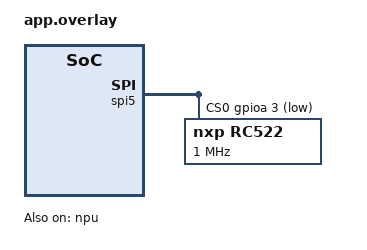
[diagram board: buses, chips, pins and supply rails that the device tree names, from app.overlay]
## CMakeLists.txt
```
cmake_minimum_required(VERSION 3.20.0)

set(BOARD stm32n6570_dk)
set(SHIELD st_b_cams_imx_mb1854)

find_package(Zephyr REQUIRED HINTS $ENV{ZEPHYR_BASE})

project(app LANGUAGES C)

target_sources(app PRIVATE src/main.c)
```

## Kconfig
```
mainmenu "Zephyr RFID RC522 sample application"

menu "Application options"
config MY_APP
	bool "Enable app"
	default y
	select USE_STM32_HAL_RAMCFG
	select USE_STM32_HAL_CACHEAXI
	select FPU
	help
		enable application
endmenu

source "Kconfig.zephyr"
```

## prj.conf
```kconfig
CONFIG_MY_APP=y
CONFIG_MAIN_STACK_SIZE=8192
# CONFIG_XIP is not set
CONFIG_DYNAMIC_INTERRUPTS=y
CONFIG_FLASH=y
CONFIG_HW_STACK_PROTECTION=y
CONFIG_GPIO=y
CONFIG_SERIAL=y
CONFIG_LOG=y
CONFIG_ASSERT=n
CONFIG_CONSOLE=y
CONFIG_UART_CONSOLE=y
CONFIG_SPI=y
CONFIG_RC522=y
CONFIG_RC522_LOG_LEVEL=4
CONFIG_LOG_DEFAULT_LEVEL=3
CONFIG_SPI_LOG_LEVEL_DBG=y
```

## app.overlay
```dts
/*
 * Copyright (c) 2025 STMicroelectronics.
 * All rights reserved.
 *
 * This software is licensed under terms that can be found in the LICENSE file
 * in the root directory of this software component.
 * If no LICENSE file comes with this software, it is provided AS-IS.
 */

/ {
	chosen {
		zephyr,camera_aux = &pipe_aux;
	};
};

// Turn on so called npu rams. They will used by NPU for model actvation buffers
&axisram3 {
	status = "okay";
};
&axisram4 {
	status = "okay";
};
&axisram5 {
	status = "okay";
};
&axisram6 {
	status = "okay";
};

// Turn on npu
&npu {
	status = "okay";
};

&spi5 {
	status = "okay";
	/* CS GPIO for rc522@0 (index = reg value = 0) */
	cs-gpios = <&gpioa 3 GPIO_ACTIVE_LOW>;

	rc522: rc522@0 {
		compatible = "nxp,rc522";
		reg = <0>;
		spi-max-frequency = <1000000>;
	};
};

// Temporary patch that allows to turn on cache on psram
// Remove this when merge upstream
&psram {
	/* Prevent access to the last 32bytes of the memory-mapped device */
	reg = <0x90000000 (DT_SIZE_M(32) - 32)>;
	zephyr,memory-attr = <DT_MEM_ARM(ATTR_MPU_RAM)>;
};
```

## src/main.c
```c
#include <zephyr/kernel.h>
#include <zephyr/logging/log.h>
#include <zephyr/device.h>
#include <zephyr/drivers/gpio.h>
#include <rfid/rc522.h>

LOG_MODULE_REGISTER(rfid_app);

#define LED0_NODE DT_ALIAS(led0)
static const struct gpio_dt_spec led = GPIO_DT_SPEC_GET(LED0_NODE, gpios);

static const struct device *rc522_dev = DEVICE_DT_GET(DT_NODELABEL(rc522));

#define LED_STACK_SIZE  1024
#define RFID_STACK_SIZE 2048

K_THREAD_STACK_DEFINE(led_stack,  LED_STACK_SIZE);
K_THREAD_STACK_DEFINE(rfid_stack, RFID_STACK_SIZE);

static struct k_thread led_thread;
static struct k_thread rfid_thread;

static void led_thread_func(void *p1, void *p2, void *p3);
static void rfid_thread_func(void *p1, void *p2, void *p3);
static void heartbeat_init(void);

int main(void)
{
	heartbeat_init();

	k_thread_create(&led_thread, led_stack, LED_STACK_SIZE,
		led_thread_func, NULL, NULL, NULL,
		K_PRIO_COOP(6), 0, K_NO_WAIT);

	k_thread_create(&rfid_thread, rfid_stack, RFID_STACK_SIZE,
		rfid_thread_func, NULL, NULL, NULL,
		K_PRIO_COOP(7), 0, K_NO_WAIT);

	return 0;
}

static void led_thread_func(void *p1, void *p2, void *p3)
{
	while (1) {
		gpio_pin_toggle_dt(&led);
		k_msleep(500);
	}
}

static void heartbeat_init(void)
{
	if (!device_is_ready(led.port)) {
		return;
	}
	gpio_pin_configure_dt(&led, GPIO_OUTPUT_ACTIVE);
}

static void rfid_thread_func(void *p1, void *p2, void *p3)
{
	if (!device_is_ready(rc522_dev)) {
		LOG_ERR("RC522 device not ready");
		return;
	}

	LOG_INF("RC522 ready — waiting for card...");

	while (1) {
		if (rc522_detect_card(rc522_dev) == 0) {
			struct rc522_uid uid;

			if (rc522_get_uid(rc522_dev, &uid) == 0) {
				LOG_INF("Card UID: %02X:%02X:%02X:%02X",
					uid.data[0], uid.data[1],
					uid.data[2], uid.data[3]);
			} else {
				LOG_WRN("Card detected but UID read failed");
			}

			rc522_halt_card(rc522_dev);
			/* Debounce: wait before polling again */
			k_msleep(500);
		}

		k_msleep(50);
	}
}
```
